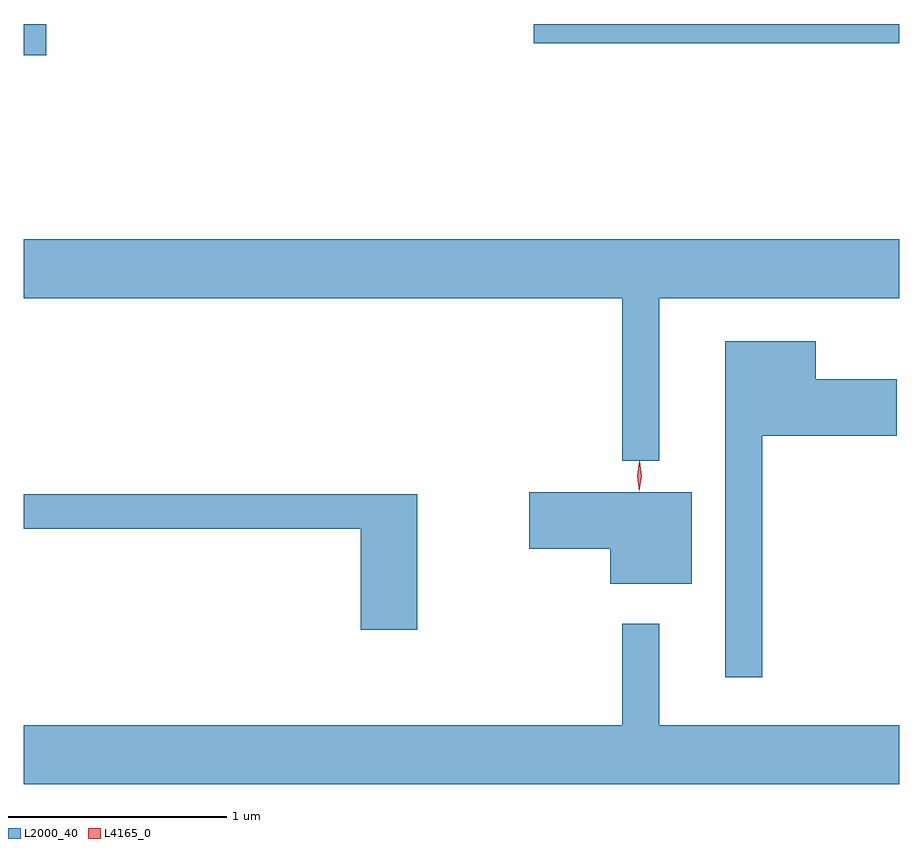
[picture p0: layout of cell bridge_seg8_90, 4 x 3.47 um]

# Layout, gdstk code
import gdstk
lib = gdstk.Library(unit=1e-6, precision=1e-09)
def R(c, l, rs):  # rectangles x0, y0, x1, y1
    for r in rs: c.add(gdstk.rectangle(r[:2], r[2:], *l))
def P(c, l, *ps):  # polygons
    for p in ps: c.add(gdstk.Polygon(p, *l))
L2000_40 = (2000, 40)
L4165_0 = (4165, 0)

bridge_seg8_90 = lib.new_cell('bridge_seg8_90')
R(bridge_seg8_90, L2000_40, [(1598.636,1857.506,1598.739,1857.648), (1600.966,1857.561,1602.636,1857.648)])
P(bridge_seg8_90, L2000_40, [(1601.539,1856.396),(1602.636,1856.396),(1602.636,1856.664),(1598.636,1856.664),(1598.636,1856.396),(1601.371,1856.396),(1601.371,1855.653),(1601.539,1855.653)],
  [(1602.009,1855.766),(1602.624,1855.766),(1602.624,1856.024),(1602.254,1856.024),(1602.254,1856.199),(1601.841,1856.199),(1601.841,1854.663),(1602.009,1854.663)],
  [(1601.689,1855.509),(1600.946,1855.509),(1600.946,1855.251),(1601.316,1855.251),(1601.316,1855.091),(1601.689,1855.091)],
  [(1600.434,1855.499),(1598.636,1855.499),(1598.636,1855.341),(1600.176,1855.341),(1600.176,1854.881),(1600.434,1854.881)],
  [(1602.636,1854.444),(1601.539,1854.444),(1601.539,1854.908),(1601.371,1854.908),(1601.371,1854.444),(1598.636,1854.444),(1598.636,1854.176),(1602.636,1854.176)])
P(bridge_seg8_90, L4165_0, [(1601.448,1855.514),(1601.448,1855.514),(1601.439,1855.582),(1601.449,1855.65),(1601.45,1855.65),(1601.45,1855.65),(1601.459,1855.582),(1601.449,1855.514)],
  [(1601.448,1855.52),(1601.448,1855.521),(1601.439,1855.584),(1601.449,1855.646),(1601.45,1855.647),(1601.45,1855.646),(1601.459,1855.583),(1601.449,1855.521)])

lib.write_gds('bridge_seg8_90.gds')
